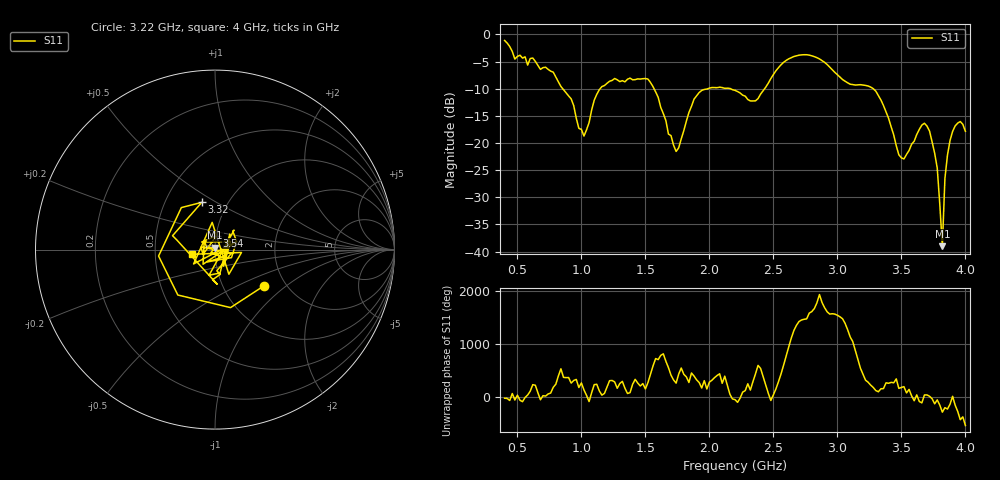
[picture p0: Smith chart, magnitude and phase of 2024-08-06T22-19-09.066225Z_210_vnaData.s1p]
!Created with skrf (http://scikit-rf.org).
# Hz S RI R 50.0
!freq ReS11 ImS11
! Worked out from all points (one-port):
!   181 points, 400 MHz to 4 GHz, reference 50 ohm
!   lowest |S11| = -39.0 dB at 3.82 GHz (marker M1), VSWR 1.02, Z = 50.1 + j1.12 ohm
!   |S11| at or under -10 dB: 854.2 MHz to 1.147 GHz (292.4 MHz wide, 29.2 % of centre); 1.567 GHz to 1.989 GHz (421.4 MHz wide, 23.7 % of centre); 3.28 GHz to end of sweep (the widest 3 of 4)
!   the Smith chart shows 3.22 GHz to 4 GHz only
!   S11 on the Smith chart (normalised r, x): 3.22 GHz: 1.55, -0.71; 3.32 GHz: 0.76, +0.43; 3.54 GHz: 1.01, +0.16; 4 GHz: 0.78, -0.04
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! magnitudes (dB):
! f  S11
! 400 MHz  -1.1
! 480 MHz  -4.5
! 620 MHz  -4.4
! 860 MHz  -10.2
! 1.02 GHz  -18.7
! 1.14 GHz  -10.2
! 1.3 GHz  -8.7
! 1.52 GHz  -8.2
! 1.76 GHz  -20.9
! 1.92 GHz  -10.7
! 2.2 GHz  -10.3
! 2.36 GHz  -12.2
! 2.66 GHz  -4.1
! 2.84 GHz  -4.3
! 3.1 GHz  -9.2
! 3.22 GHz  -9.4
! 3.32 GHz  -11.3
! 3.48 GHz  -22.2
! 3.54 GHz  -22.1
! 3.56 GHz  -21.4
! 3.66 GHz  -16.7
! 3.72 GHz  -17.8
! 3.78 GHz  -24.6
! 3.82 GHz  -39.0
! 3.84 GHz  -26.5
! 3.88 GHz  -19.5
! 3.94 GHz  -16.3
! 4 GHz  -17.8
